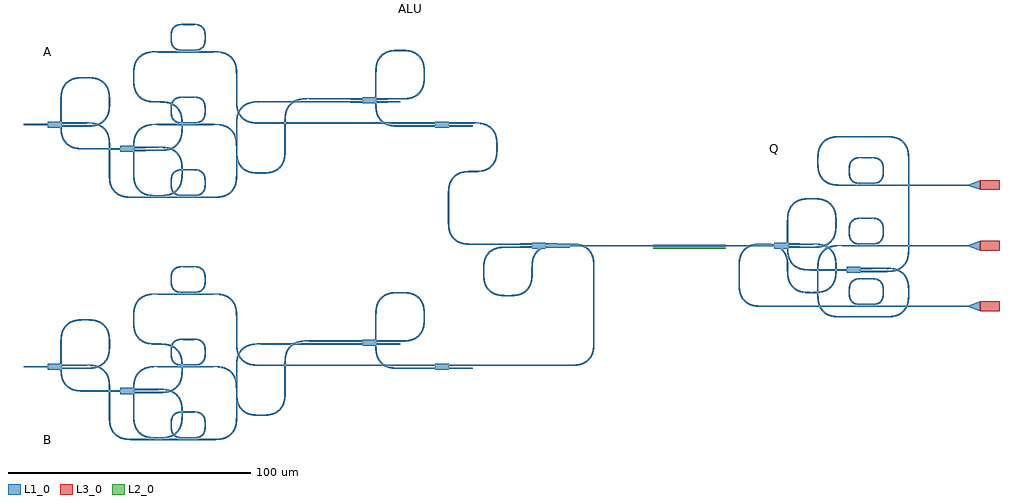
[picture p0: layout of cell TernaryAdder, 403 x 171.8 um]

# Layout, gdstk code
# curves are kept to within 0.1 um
from math import pi, radians
import gdstk
lib = gdstk.Library(unit=1e-6, precision=1e-09)
def R(c, l, rs):  # rectangles x0, y0, x1, y1
    for r in rs: c.add(gdstk.rectangle(r[:2], r[2:], *l))
def P(c, l, *ps):  # polygons
    for p in ps: c.add(gdstk.Polygon(p, *l))
L1_0 = (1, 0)
L2_0 = (2, 0)
L3_0 = (3, 0)

mmi1x2_gdsfactorypcompon = lib.new_cell('mmi1x2_gdsfactorypcomponentspmmispmmi1x2_WNone_WT1_LT10_1f097353')
P(mmi1x2_gdsfactorypcompon, L1_0, [(0,-1.25),(0,-0.5),(-10,-0.25),(-10,0.25),(0,0.5),(0,1.25),(5.5,1.25),(5.5,1.125),(15.5,0.875),(15.5,0.375),(5.5,0.125),(5.5,-0.125),(15.5,-0.375),(15.5,-0.875),(5.5,-1.125),(5.5,-1.25)])

bend_euler_gdsfactorypco = lib.new_cell('bend_euler_gdsfactorypcomponentspbendspbend_euler_R10_A_335c8724')
P(bend_euler_gdsfactorypco, L1_0, [(0,-0.25),(0,0.25),(2.881,0.353),(3.952,0.52),(4.99,0.806),(6.431,1.505),(7.575,2.425),(8.495,3.569),(9.194,5.01),(9.48,6.048),(9.647,7.119),(9.75,10),(10.25,10),(10.158,7.205),(9.797,5.254),(9.457,4.312),(9.066,3.545),(8.5,2.715),(7.928,2.072),(7.285,1.5),(6.455,0.934),(5.688,0.543),(4.746,0.203),(2.795,-0.158)])

straight_gdsfactorypcomp = lib.new_cell('straight_gdsfactorypcomponentspwaveguidespstraight_L9p3_5c04381e')
R(straight_gdsfactorypcomp, L1_0, [(0,-0.25,9.375,0.25)])

c_straight_gdsfactorypcomp = lib.new_cell('straight_gdsfactorypcomponentspwaveguidespstraight_L4p5_be343a92')
R(c_straight_gdsfactorypcomp, L1_0, [(0,-0.25,4.5,0.25)])

split_a_982a3913 = lib.new_cell('split_A_982a3913')
split_a_982a3913.add(gdstk.Reference(mmi1x2_gdsfactorypcompon, (0,0)))
split_a_982a3913.add(gdstk.Reference(mmi1x2_gdsfactorypcompon, (30,-10)))
split_a_982a3913.add(gdstk.Reference(bend_euler_gdsfactorypco, (25.5,9.375), rotation=3*pi/2, x_reflection=True))
split_a_982a3913.add(gdstk.Reference(bend_euler_gdsfactorypco, (15.5,19.375), x_reflection=True))
split_a_982a3913.add(gdstk.Reference(bend_euler_gdsfactorypco, (5.5,9.375), rotation=pi/2, x_reflection=True))
split_a_982a3913.add(gdstk.Reference(bend_euler_gdsfactorypco, (15.5,-10), rotation=pi, x_reflection=True))
split_a_982a3913.add(gdstk.Reference(straight_gdsfactorypcomp, (5.5,9.375), rotation=3*pi/2))
split_a_982a3913.add(gdstk.Reference(c_straight_gdsfactorypcomp, (15.5,-10)))

coupler_ring_gdsfactoryp = lib.new_cell('coupler_ring_gdsfactorypcomponentspcouplerspcoupler_rin_e57d2f45')
R(coupler_ring_gdsfactoryp, L1_0, [(-12,-0.25,8,0.25)])
P(coupler_ring_gdsfactoryp, L1_0, [(-4.278,0.45),(-5.553,0.512),(-6.549,0.725),(-7.411,1.132),(-8.167,1.767),(-8.733,2.575),(-9.057,3.433),(-9.216,4.433),(-9.25,5.7),(-8.75,5.7),(-8.706,4.34),(-8.538,3.432),(-8.146,2.558),(-7.596,1.902),(-7.02,1.48),(-6.268,1.162),(-5.36,0.994),(-4.276,0.95),(1.093,0.973),(2.142,1.127),(2.894,1.411),(3.596,1.902),(4.22,2.68),(4.5,3.308),(4.654,3.944),(4.75,5.7),(5.25,5.7),(5.169,4.004),(5.018,3.292),(4.806,2.723),(4.476,2.152),(4.053,1.647),(3.125,0.967),(2.267,0.643),(1.124,0.474)])

c_straight_gdsfactorypcomp_ = lib.new_cell('straight_gdsfactorypcomponentspwaveguidespstraight_L4_N_a6eac62c')
R(c_straight_gdsfactorypcomp_, L1_0, [(0,-0.25,4,0.25)])

c_bend_euler_gdsfactorypco = lib.new_cell('bend_euler_gdsfactorypcomponentspbendspbend_euler_R5_A9_90a35c7e')
P(c_bend_euler_gdsfactorypco, L1_0, [(0,-0.25),(0,0.25),(1.36,0.294),(2.268,0.462),(3.02,0.78),(3.699,1.301),(4.22,1.98),(4.538,2.732),(4.706,3.64),(4.75,5),(5.25,5),(5.203,3.59),(5.018,2.592),(4.653,1.73),(4.053,0.947),(3.27,0.347),(2.408,-0.018),(1.41,-0.203)])

c_straight_gdsfactorypcomp__ = lib.new_cell('straight_gdsfactorypcomponentspwaveguidespstraight_L0p6_058e2168')
R(c_straight_gdsfactorypcomp__, L1_0, [(0,-0.25,0.6,0.25)])

ring_single_gdsfactorypc = lib.new_cell('ring_single_gdsfactorypcomponentspringspring_single_G0p_fd70e67b')
ring_single_gdsfactorypc.add(gdstk.Reference(coupler_ring_gdsfactoryp, (0,0)))
ring_single_gdsfactorypc.add(gdstk.Reference(c_straight_gdsfactorypcomp_, (0,11.3), rotation=pi))
ring_single_gdsfactorypc.add(gdstk.Reference(c_bend_euler_gdsfactorypco, (-4,11.3), rotation=pi))
ring_single_gdsfactorypc.add(gdstk.Reference(c_bend_euler_gdsfactorypco, (5,6.3), rotation=pi/2))
ring_single_gdsfactorypc.add(gdstk.Reference(c_straight_gdsfactorypcomp__, (-9,5.7), rotation=pi/2))
ring_single_gdsfactorypc.add(gdstk.Reference(c_straight_gdsfactorypcomp__, (5,6.3), rotation=3*pi/2))

sel_a_red_982a3913 = lib.new_cell('sel_A_Red_982a3913')
sel_a_red_982a3913.add(gdstk.Reference(ring_single_gdsfactorypc, (0,0)))
sel_a_red_982a3913.add(gdstk.Label('SEL_1550', (0,7), layer=100, texttype=0))

sel_a_green_982a3913 = lib.new_cell('sel_A_Green_982a3913')
sel_a_green_982a3913.add(gdstk.Reference(ring_single_gdsfactorypc, (0,0)))
sel_a_green_982a3913.add(gdstk.Label('SEL_1300', (0,7), layer=100, texttype=0))

sel_a_blue_982a3913 = lib.new_cell('sel_A_Blue_982a3913')
sel_a_blue_982a3913.add(gdstk.Reference(ring_single_gdsfactorypc, (0,0)))
sel_a_blue_982a3913.add(gdstk.Label('SEL_1000', (0,7), layer=100, texttype=0))

mmi2x2_gdsfactorypcompon = lib.new_cell('mmi2x2_gdsfactorypcomponentspmmispmmi2x2_WNone_WT1_LT10_d84946bc')
P(mmi2x2_gdsfactorypcompon, L1_0, [(0,-1.25),(0,-1.125),(-10,-0.875),(-10,-0.375),(0,-0.125),(0,0.125),(-10,0.375),(-10,0.875),(0,1.125),(0,1.25),(5.5,1.25),(5.5,1.125),(15.5,0.875),(15.5,0.375),(5.5,0.125),(5.5,-0.125),(15.5,-0.375),(15.5,-0.875),(5.5,-1.125),(5.5,-1.25)])

c_straight_gdsfactorypcomp___ = lib.new_cell('straight_gdsfactorypcomponentspwaveguidespstraight_L11p_b5dd33e6')
R(c_straight_gdsfactorypcomp___, L1_0, [(0,-0.25,11.25,0.25)])

comb_a_982a3913 = lib.new_cell('comb_A_982a3913')
comb_a_982a3913.add(gdstk.Reference(mmi2x2_gdsfactorypcompon, (0,10)))
comb_a_982a3913.add(gdstk.Reference(mmi2x2_gdsfactorypcompon, (30,0)))
comb_a_982a3913.add(gdstk.Reference(bend_euler_gdsfactorypco, (25.5,20.625), rotation=3*pi/2, x_reflection=True))
comb_a_982a3913.add(gdstk.Reference(bend_euler_gdsfactorypco, (15.5,30.625), x_reflection=True))
comb_a_982a3913.add(gdstk.Reference(bend_euler_gdsfactorypco, (5.5,20.625), rotation=pi/2, x_reflection=True))
comb_a_982a3913.add(gdstk.Reference(bend_euler_gdsfactorypco, (15.5,-0.625), rotation=pi, x_reflection=True))
comb_a_982a3913.add(gdstk.Reference(c_straight_gdsfactorypcomp___, (5.5,20.625), rotation=3*pi/2))
comb_a_982a3913.add(gdstk.Reference(c_straight_gdsfactorypcomp, (15.5,-0.625)))

c_straight_gdsfactorypcomp____ = lib.new_cell('straight_gdsfactorypcomponentspwaveguidespstraight_L10p_2f2216ae')
R(c_straight_gdsfactorypcomp____, L1_0, [(0,-0.25,10.625,0.25)])

c_straight_gdsfactorypcomp_____ = lib.new_cell('straight_gdsfactorypcomponentspwaveguidespstraight_L12p_0dcc9123')
R(c_straight_gdsfactorypcomp_____, L1_0, [(0,-0.25,12.5,0.25)])

c_straight_gdsfactorypcomp______ = lib.new_cell('straight_gdsfactorypcomponentspwaveguidespstraight_L2p5_b59e3197')
R(c_straight_gdsfactorypcomp______, L1_0, [(0,-0.25,2.5,0.25)])

c_straight_gdsfactorypcomp_______ = lib.new_cell('straight_gdsfactorypcomponentspwaveguidespstraight_L0p6_2a917248')
R(c_straight_gdsfactorypcomp_______, L1_0, [(0,-0.25,0.625,0.25)])

c_straight_gdsfactorypcomp________ = lib.new_cell('straight_gdsfactorypcomponentspwaveguidespstraight_L19p_8f351695')
R(c_straight_gdsfactorypcomp________, L1_0, [(0,-0.25,19.375,0.25)])

c_straight_gdsfactorypcomp_________ = lib.new_cell('straight_gdsfactorypcomponentspwaveguidespstraight_L32__d09634ea')
R(c_straight_gdsfactorypcomp_________, L1_0, [(0,-0.25,32,0.25)])

c_straight_gdsfactorypcomp__________ = lib.new_cell('straight_gdsfactorypcomponentspwaveguidespstraight_L12__08aed825')
R(c_straight_gdsfactorypcomp__________, L1_0, [(0,-0.25,12,0.25)])

c_straight_gdsfactorypcomp___________ = lib.new_cell('straight_gdsfactorypcomponentspwaveguidespstraight_L62__7b0e011d')
R(c_straight_gdsfactorypcomp___________, L1_0, [(0,-0.25,62,0.25)])

input_a_982a3913 = lib.new_cell('input_A_982a3913')
input_a_982a3913.add(gdstk.Reference(split_a_982a3913, (0,50)))
input_a_982a3913.add(gdstk.Reference(sel_a_red_982a3913, (60,20)))
input_a_982a3913.add(gdstk.Reference(sel_a_green_982a3913, (60,50)))
input_a_982a3913.add(gdstk.Reference(sel_a_blue_982a3913, (60,80)))
input_a_982a3913.add(gdstk.Reference(comb_a_982a3913, (130,50)))
input_a_982a3913.add(gdstk.Reference(bend_euler_gdsfactorypco, (25.5,40.625), rotation=pi/2))
input_a_982a3913.add(gdstk.Reference(bend_euler_gdsfactorypco, (35.5,20), rotation=pi, x_reflection=True))
input_a_982a3913.add(gdstk.Reference(c_straight_gdsfactorypcomp____, (25.5,40.625), rotation=3*pi/2))
input_a_982a3913.add(gdstk.Reference(c_straight_gdsfactorypcomp_____, (35.5,20)))
input_a_982a3913.add(gdstk.Reference(bend_euler_gdsfactorypco, (55.5,30.625), rotation=pi/2))
input_a_982a3913.add(gdstk.Reference(bend_euler_gdsfactorypco, (45.5,20.625)))
input_a_982a3913.add(gdstk.Reference(bend_euler_gdsfactorypco, (35.5,30.625), rotation=3*pi/2))
input_a_982a3913.add(gdstk.Reference(bend_euler_gdsfactorypco, (45.5,50), rotation=pi))
input_a_982a3913.add(gdstk.Reference(straight_gdsfactorypcomp, (35.5,30.625), rotation=pi/2))
input_a_982a3913.add(gdstk.Reference(c_straight_gdsfactorypcomp______, (45.5,50)))
input_a_982a3913.add(gdstk.Reference(bend_euler_gdsfactorypco, (55.5,49.375), rotation=3*pi/2, x_reflection=True))
input_a_982a3913.add(gdstk.Reference(bend_euler_gdsfactorypco, (45.5,59.375), x_reflection=True))
input_a_982a3913.add(gdstk.Reference(bend_euler_gdsfactorypco, (35.5,69.375), rotation=3*pi/2))
input_a_982a3913.add(gdstk.Reference(bend_euler_gdsfactorypco, (45.5,80), rotation=pi))
input_a_982a3913.add(gdstk.Reference(c_straight_gdsfactorypcomp_______, (35.5,69.375), rotation=pi/2))
input_a_982a3913.add(gdstk.Reference(c_straight_gdsfactorypcomp______, (45.5,80)))
input_a_982a3913.add(gdstk.Reference(bend_euler_gdsfactorypco, (78,30), rotation=3*pi/2, x_reflection=True))
input_a_982a3913.add(gdstk.Reference(bend_euler_gdsfactorypco, (88,59.375), rotation=pi))
input_a_982a3913.add(gdstk.Reference(c_straight_gdsfactorypcomp________, (78,30), rotation=pi/2))
input_a_982a3913.add(gdstk.Reference(c_straight_gdsfactorypcomp_________, (88,59.375)))
input_a_982a3913.add(gdstk.Reference(bend_euler_gdsfactorypco, (78,40), rotation=pi/2))
input_a_982a3913.add(gdstk.Reference(bend_euler_gdsfactorypco, (88,30), rotation=pi, x_reflection=True))
input_a_982a3913.add(gdstk.Reference(bend_euler_gdsfactorypco, (98,40), rotation=3*pi/2, x_reflection=True))
input_a_982a3913.add(gdstk.Reference(bend_euler_gdsfactorypco, (108,60.625), rotation=pi))
input_a_982a3913.add(gdstk.Reference(c_straight_gdsfactorypcomp____, (98,40), rotation=pi/2))
input_a_982a3913.add(gdstk.Reference(c_straight_gdsfactorypcomp__________, (108,60.625)))
input_a_982a3913.add(gdstk.Reference(bend_euler_gdsfactorypco, (78,70), rotation=pi/2))
input_a_982a3913.add(gdstk.Reference(bend_euler_gdsfactorypco, (88,50.625), rotation=pi, x_reflection=True))
input_a_982a3913.add(gdstk.Reference(straight_gdsfactorypcomp, (78,70), rotation=3*pi/2))
input_a_982a3913.add(gdstk.Reference(c_straight_gdsfactorypcomp___________, (88,50.625)))

split_b_982a3913 = lib.new_cell('split_B_982a3913')
split_b_982a3913.add(gdstk.Reference(mmi1x2_gdsfactorypcompon, (0,0)))
split_b_982a3913.add(gdstk.Reference(mmi1x2_gdsfactorypcompon, (30,-10)))
split_b_982a3913.add(gdstk.Reference(bend_euler_gdsfactorypco, (25.5,9.375), rotation=3*pi/2, x_reflection=True))
split_b_982a3913.add(gdstk.Reference(bend_euler_gdsfactorypco, (15.5,19.375), x_reflection=True))
split_b_982a3913.add(gdstk.Reference(bend_euler_gdsfactorypco, (5.5,9.375), rotation=pi/2, x_reflection=True))
split_b_982a3913.add(gdstk.Reference(bend_euler_gdsfactorypco, (15.5,-10), rotation=pi, x_reflection=True))
split_b_982a3913.add(gdstk.Reference(straight_gdsfactorypcomp, (5.5,9.375), rotation=3*pi/2))
split_b_982a3913.add(gdstk.Reference(c_straight_gdsfactorypcomp, (15.5,-10)))

sel_b_red_982a3913 = lib.new_cell('sel_B_Red_982a3913')
sel_b_red_982a3913.add(gdstk.Reference(ring_single_gdsfactorypc, (0,0)))
sel_b_red_982a3913.add(gdstk.Label('SEL_1550', (0,7), layer=100, texttype=0))

sel_b_green_982a3913 = lib.new_cell('sel_B_Green_982a3913')
sel_b_green_982a3913.add(gdstk.Reference(ring_single_gdsfactorypc, (0,0)))
sel_b_green_982a3913.add(gdstk.Label('SEL_1300', (0,7), layer=100, texttype=0))

sel_b_blue_982a3913 = lib.new_cell('sel_B_Blue_982a3913')
sel_b_blue_982a3913.add(gdstk.Reference(ring_single_gdsfactorypc, (0,0)))
sel_b_blue_982a3913.add(gdstk.Label('SEL_1000', (0,7), layer=100, texttype=0))

comb_b_982a3913 = lib.new_cell('comb_B_982a3913')
comb_b_982a3913.add(gdstk.Reference(mmi2x2_gdsfactorypcompon, (0,10)))
comb_b_982a3913.add(gdstk.Reference(mmi2x2_gdsfactorypcompon, (30,0)))
comb_b_982a3913.add(gdstk.Reference(bend_euler_gdsfactorypco, (25.5,20.625), rotation=3*pi/2, x_reflection=True))
comb_b_982a3913.add(gdstk.Reference(bend_euler_gdsfactorypco, (15.5,30.625), x_reflection=True))
comb_b_982a3913.add(gdstk.Reference(bend_euler_gdsfactorypco, (5.5,20.625), rotation=pi/2, x_reflection=True))
comb_b_982a3913.add(gdstk.Reference(bend_euler_gdsfactorypco, (15.5,-0.625), rotation=pi, x_reflection=True))
comb_b_982a3913.add(gdstk.Reference(c_straight_gdsfactorypcomp___, (5.5,20.625), rotation=3*pi/2))
comb_b_982a3913.add(gdstk.Reference(c_straight_gdsfactorypcomp, (15.5,-0.625)))

input_b_982a3913 = lib.new_cell('input_B_982a3913')
input_b_982a3913.add(gdstk.Reference(split_b_982a3913, (0,-50)))
input_b_982a3913.add(gdstk.Reference(sel_b_red_982a3913, (60,-80)))
input_b_982a3913.add(gdstk.Reference(sel_b_green_982a3913, (60,-50)))
input_b_982a3913.add(gdstk.Reference(sel_b_blue_982a3913, (60,-20)))
input_b_982a3913.add(gdstk.Reference(comb_b_982a3913, (130,-50)))
input_b_982a3913.add(gdstk.Reference(bend_euler_gdsfactorypco, (25.5,-59.375), rotation=pi/2))
input_b_982a3913.add(gdstk.Reference(bend_euler_gdsfactorypco, (35.5,-80), rotation=pi, x_reflection=True))
input_b_982a3913.add(gdstk.Reference(c_straight_gdsfactorypcomp____, (25.5,-59.375), rotation=3*pi/2))
input_b_982a3913.add(gdstk.Reference(c_straight_gdsfactorypcomp_____, (35.5,-80)))
input_b_982a3913.add(gdstk.Reference(bend_euler_gdsfactorypco, (55.5,-69.375), rotation=pi/2))
input_b_982a3913.add(gdstk.Reference(bend_euler_gdsfactorypco, (45.5,-79.375)))
input_b_982a3913.add(gdstk.Reference(bend_euler_gdsfactorypco, (35.5,-69.375), rotation=3*pi/2))
input_b_982a3913.add(gdstk.Reference(bend_euler_gdsfactorypco, (45.5,-50), rotation=pi))
input_b_982a3913.add(gdstk.Reference(straight_gdsfactorypcomp, (35.5,-69.375), rotation=pi/2))
input_b_982a3913.add(gdstk.Reference(c_straight_gdsfactorypcomp______, (45.5,-50)))
input_b_982a3913.add(gdstk.Reference(bend_euler_gdsfactorypco, (55.5,-50.625), rotation=3*pi/2, x_reflection=True))
input_b_982a3913.add(gdstk.Reference(bend_euler_gdsfactorypco, (45.5,-40.625), x_reflection=True))
input_b_982a3913.add(gdstk.Reference(bend_euler_gdsfactorypco, (35.5,-30.625), rotation=3*pi/2))
input_b_982a3913.add(gdstk.Reference(bend_euler_gdsfactorypco, (45.5,-20), rotation=pi))
input_b_982a3913.add(gdstk.Reference(c_straight_gdsfactorypcomp_______, (35.5,-30.625), rotation=pi/2))
input_b_982a3913.add(gdstk.Reference(c_straight_gdsfactorypcomp______, (45.5,-20)))
input_b_982a3913.add(gdstk.Reference(bend_euler_gdsfactorypco, (78,-70), rotation=3*pi/2, x_reflection=True))
input_b_982a3913.add(gdstk.Reference(bend_euler_gdsfactorypco, (88,-40.625), rotation=pi))
input_b_982a3913.add(gdstk.Reference(c_straight_gdsfactorypcomp________, (78,-70), rotation=pi/2))
input_b_982a3913.add(gdstk.Reference(c_straight_gdsfactorypcomp_________, (88,-40.625)))
input_b_982a3913.add(gdstk.Reference(bend_euler_gdsfactorypco, (78,-60), rotation=pi/2))
input_b_982a3913.add(gdstk.Reference(bend_euler_gdsfactorypco, (88,-70), rotation=pi, x_reflection=True))
input_b_982a3913.add(gdstk.Reference(bend_euler_gdsfactorypco, (98,-60), rotation=3*pi/2, x_reflection=True))
input_b_982a3913.add(gdstk.Reference(bend_euler_gdsfactorypco, (108,-39.375), rotation=pi))
input_b_982a3913.add(gdstk.Reference(c_straight_gdsfactorypcomp____, (98,-60), rotation=pi/2))
input_b_982a3913.add(gdstk.Reference(c_straight_gdsfactorypcomp__________, (108,-39.375)))
input_b_982a3913.add(gdstk.Reference(bend_euler_gdsfactorypco, (78,-30), rotation=pi/2))
input_b_982a3913.add(gdstk.Reference(bend_euler_gdsfactorypco, (88,-49.375), rotation=pi, x_reflection=True))
input_b_982a3913.add(gdstk.Reference(straight_gdsfactorypcomp, (78,-30), rotation=3*pi/2))
input_b_982a3913.add(gdstk.Reference(c_straight_gdsfactorypcomp___________, (88,-49.375)))

c_straight_gdsfactorypcomp____________ = lib.new_cell('straight_gdsfactorypcomponentspwaveguidespstraight_L30__ad10009a')
R(c_straight_gdsfactorypcomp____________, L1_0, [(0,-0.4,30,0.4)])

alu_mixer_982a3913 = lib.new_cell('alu_mixer_982a3913')
R(alu_mixer_982a3913, L2_0, [(0,-1.3,30,-0.8)])
alu_mixer_982a3913.add(gdstk.Reference(c_straight_gdsfactorypcomp____________, (0,0)))
alu_mixer_982a3913.add(gdstk.Label('MIX', (15,-1.8), layer=100, texttype=0))

taper_gdsfactorypcompone = lib.new_cell('taper_gdsfactorypcomponentsptapersptaper_L10_W0p8_W0p5__da63ba57')
P(taper_gdsfactorypcompone, L1_0, [(0,-0.4),(0,0.4),(10,0.25),(10,-0.25)])

output_split_982a3913 = lib.new_cell('output_split_982a3913')
output_split_982a3913.add(gdstk.Reference(mmi1x2_gdsfactorypcompon, (0,0)))
output_split_982a3913.add(gdstk.Reference(mmi1x2_gdsfactorypcompon, (30,-10)))
output_split_982a3913.add(gdstk.Reference(bend_euler_gdsfactorypco, (25.5,9.375), rotation=3*pi/2, x_reflection=True))
output_split_982a3913.add(gdstk.Reference(bend_euler_gdsfactorypco, (15.5,19.375), x_reflection=True))
output_split_982a3913.add(gdstk.Reference(bend_euler_gdsfactorypco, (5.5,9.375), rotation=pi/2, x_reflection=True))
output_split_982a3913.add(gdstk.Reference(bend_euler_gdsfactorypco, (15.5,-10), rotation=pi, x_reflection=True))
output_split_982a3913.add(gdstk.Reference(straight_gdsfactorypcomp, (5.5,9.375), rotation=3*pi/2))
output_split_982a3913.add(gdstk.Reference(c_straight_gdsfactorypcomp, (15.5,-10)))

filter_red_982a3913 = lib.new_cell('filter_Red_982a3913')
filter_red_982a3913.add(gdstk.Reference(ring_single_gdsfactorypc, (0,0)))
filter_red_982a3913.add(gdstk.Label('SEL_1550', (0,7), layer=100, texttype=0))

c_taper_gdsfactorypcompone = lib.new_cell('taper_gdsfactorypcomponentsptapersptaper_L5_W0p5_W4_LNo_3267d75c')
P(c_taper_gdsfactorypcompone, L1_0, [(5,-2),(0,-0.25),(0,0.25),(5,2)])

rectangle_gdsfactorypcom = lib.new_cell('rectangle_gdsfactorypcomponentspshapesprectangle_S8_4_L_c544619e')
R(rectangle_gdsfactorypcom, L3_0, [(0,0,8,4)])

detect_red_982a3913 = lib.new_cell('detect_Red_982a3913')
detect_red_982a3913.add(gdstk.Reference(c_taper_gdsfactorypcompone, (0,0)))
detect_red_982a3913.add(gdstk.Reference(rectangle_gdsfactorypcom, (5,-2)))
detect_red_982a3913.add(gdstk.Label('PD', (10,-4), layer=100, texttype=0))

filter_green_982a3913 = lib.new_cell('filter_Green_982a3913')
filter_green_982a3913.add(gdstk.Reference(ring_single_gdsfactorypc, (0,0)))
filter_green_982a3913.add(gdstk.Label('SEL_1300', (0,7), layer=100, texttype=0))

detect_green_982a3913 = lib.new_cell('detect_Green_982a3913')
detect_green_982a3913.add(gdstk.Reference(c_taper_gdsfactorypcompone, (0,0)))
detect_green_982a3913.add(gdstk.Reference(rectangle_gdsfactorypcom, (5,-2)))
detect_green_982a3913.add(gdstk.Label('PD', (10,-4), layer=100, texttype=0))

filter_blue_982a3913 = lib.new_cell('filter_Blue_982a3913')
filter_blue_982a3913.add(gdstk.Reference(ring_single_gdsfactorypc, (0,0)))
filter_blue_982a3913.add(gdstk.Label('SEL_1000', (0,7), layer=100, texttype=0))

detect_blue_982a3913 = lib.new_cell('detect_Blue_982a3913')
detect_blue_982a3913.add(gdstk.Reference(c_taper_gdsfactorypcompone, (0,0)))
detect_blue_982a3913.add(gdstk.Reference(rectangle_gdsfactorypcom, (5,-2)))
detect_blue_982a3913.add(gdstk.Label('PD', (10,-4), layer=100, texttype=0))

c_straight_gdsfactorypcomp_____________ = lib.new_cell('straight_gdsfactorypcomponentspwaveguidespstraight_L5p6_c0f6b6dc')
R(c_straight_gdsfactorypcomp_____________, L1_0, [(0,-0.25,5.625,0.25)])

c_straight_gdsfactorypcomp______________ = lib.new_cell('straight_gdsfactorypcomponentspwaveguidespstraight_L32p_d6bfa163')
R(c_straight_gdsfactorypcomp______________, L1_0, [(0,-0.25,32.5,0.25)])

c_straight_gdsfactorypcomp_______________ = lib.new_cell('straight_gdsfactorypcomponentspwaveguidespstraight_L17p_6e0994a4')
R(c_straight_gdsfactorypcomp_______________, L1_0, [(0,-0.25,17.5,0.25)])

c_straight_gdsfactorypcomp________________ = lib.new_cell('straight_gdsfactorypcomponentspwaveguidespstraight_L35p_595ae95b')
R(c_straight_gdsfactorypcomp________________, L1_0, [(0,-0.25,35.625,0.25)])

output_982a3913 = lib.new_cell('output_982a3913')
output_982a3913.add(gdstk.Reference(output_split_982a3913, (0,0)))
output_982a3913.add(gdstk.Reference(filter_red_982a3913, (40,-25)))
output_982a3913.add(gdstk.Reference(detect_red_982a3913, (80,-25)))
output_982a3913.add(gdstk.Reference(filter_green_982a3913, (40,0)))
output_982a3913.add(gdstk.Reference(detect_green_982a3913, (80,0)))
output_982a3913.add(gdstk.Reference(filter_blue_982a3913, (40,25)))
output_982a3913.add(gdstk.Reference(detect_blue_982a3913, (80,25)))
output_982a3913.add(gdstk.Reference(bend_euler_gdsfactorypco, (25.5,-9.375), rotation=pi/2))
output_982a3913.add(gdstk.Reference(bend_euler_gdsfactorypco, (15.5,-19.375)))
output_982a3913.add(gdstk.Reference(bend_euler_gdsfactorypco, (5.5,-9.375), rotation=3*pi/2))
output_982a3913.add(gdstk.Reference(bend_euler_gdsfactorypco, (-4.5,0.625), x_reflection=True))
output_982a3913.add(gdstk.Reference(bend_euler_gdsfactorypco, (-14.5,-9.375), rotation=pi/2, x_reflection=True))
output_982a3913.add(gdstk.Reference(bend_euler_gdsfactorypco, (-4.5,-25), rotation=pi, x_reflection=True))
output_982a3913.add(gdstk.Reference(c_straight_gdsfactorypcomp_____________, (-14.5,-9.375), rotation=3*pi/2))
output_982a3913.add(gdstk.Reference(c_straight_gdsfactorypcomp______________, (-4.5,-25)))
output_982a3913.add(gdstk.Reference(c_straight_gdsfactorypcomp_________, (48,-25)))
output_982a3913.add(gdstk.Reference(bend_euler_gdsfactorypco, (55.5,-19.375), rotation=pi/2))
output_982a3913.add(gdstk.Reference(bend_euler_gdsfactorypco, (45.5,-29.375)))
output_982a3913.add(gdstk.Reference(bend_euler_gdsfactorypco, (18,-19.375), rotation=3*pi/2))
output_982a3913.add(gdstk.Reference(c_straight_gdsfactorypcomp_______________, (45.5,-29.375), rotation=pi))
output_982a3913.add(gdstk.Reference(bend_euler_gdsfactorypco, (28,0), rotation=pi))
output_982a3913.add(gdstk.Reference(straight_gdsfactorypcomp, (18,-19.375), rotation=pi/2))
output_982a3913.add(gdstk.Reference(c_straight_gdsfactorypcomp_________, (48,0)))
output_982a3913.add(gdstk.Reference(bend_euler_gdsfactorypco, (55.5,-0.625), rotation=3*pi/2, x_reflection=True))
output_982a3913.add(gdstk.Reference(bend_euler_gdsfactorypco, (45.5,45), x_reflection=True))
output_982a3913.add(gdstk.Reference(c_straight_gdsfactorypcomp________________, (55.5,-0.625), rotation=pi/2))
output_982a3913.add(gdstk.Reference(bend_euler_gdsfactorypco, (18,35), rotation=pi/2, x_reflection=True))
output_982a3913.add(gdstk.Reference(c_straight_gdsfactorypcomp_______________, (45.5,45), rotation=pi))
output_982a3913.add(gdstk.Reference(bend_euler_gdsfactorypco, (28,25), rotation=pi, x_reflection=True))
output_982a3913.add(gdstk.Reference(c_straight_gdsfactorypcomp_________, (48,25)))
output_982a3913.add(gdstk.Label('DET_R', (95,-25), layer=100, texttype=0))
output_982a3913.add(gdstk.Label('DET_G', (95,0), layer=100, texttype=0))
output_982a3913.add(gdstk.Label('DET_B', (95,25), layer=100, texttype=0))
output_982a3913.add(gdstk.Label('OUT', (50,35), layer=100, texttype=0))

c_straight_gdsfactorypcomp_________________ = lib.new_cell('straight_gdsfactorypcomponentspwaveguidespstraight_L10__f2286423')
R(c_straight_gdsfactorypcomp_________________, L1_0, [(0,-0.25,10,0.25)])

c_straight_gdsfactorypcomp__________________ = lib.new_cell('straight_gdsfactorypcomponentspwaveguidespstraight_L14p_2ca56a52')
R(c_straight_gdsfactorypcomp__________________, L1_0, [(0,-0.25,14.5,0.25)])

c_straight_gdsfactorypcomp___________________ = lib.new_cell('straight_gdsfactorypcomponentspwaveguidespstraight_L40__92237c63')
R(c_straight_gdsfactorypcomp___________________, L1_0, [(0,-0.25,40,0.25)])

c_straight_gdsfactorypcomp____________________ = lib.new_cell('straight_gdsfactorypcomponentspwaveguidespstraight_L30__a17b4e39')
R(c_straight_gdsfactorypcomp____________________, L1_0, [(0,-0.25,30,0.25)])

ternaryadder = lib.new_cell('TernaryAdder')
ternaryadder.add(gdstk.Reference(input_a_982a3913, (0,0)))
ternaryadder.add(gdstk.Reference(input_b_982a3913, (0,0)))
ternaryadder.add(gdstk.Reference(mmi2x2_gdsfactorypcompon, (200,0)))
ternaryadder.add(gdstk.Reference(alu_mixer_982a3913, (250,0)))
ternaryadder.add(gdstk.Reference(taper_gdsfactorypcompone, (250,0), rotation=pi))
ternaryadder.add(gdstk.Reference(output_982a3913, (300,0)))
ternaryadder.add(gdstk.Reference(taper_gdsfactorypcompone, (280,0)))
ternaryadder.add(gdstk.Reference(bend_euler_gdsfactorypco, (185.5,40.625), rotation=pi/2))
ternaryadder.add(gdstk.Reference(bend_euler_gdsfactorypco, (175.5,30.625)))
ternaryadder.add(gdstk.Reference(bend_euler_gdsfactorypco, (165.5,20.625), rotation=pi/2, x_reflection=True))
ternaryadder.add(gdstk.Reference(bend_euler_gdsfactorypco, (175.5,0.625), rotation=pi, x_reflection=True))
ternaryadder.add(gdstk.Reference(c_straight_gdsfactorypcomp_________________, (165.5,20.625), rotation=3*pi/2))
ternaryadder.add(gdstk.Reference(c_straight_gdsfactorypcomp__________________, (175.5,0.625)))
ternaryadder.add(gdstk.Reference(bend_euler_gdsfactorypco, (225.5,-39.375), rotation=3*pi/2, x_reflection=True))
ternaryadder.add(gdstk.Reference(c_straight_gdsfactorypcomp___________________, (175.5,-49.375)))
ternaryadder.add(gdstk.Reference(bend_euler_gdsfactorypco, (215.5,0.625), x_reflection=True))
ternaryadder.add(gdstk.Reference(c_straight_gdsfactorypcomp____________________, (225.5,-39.375), rotation=pi/2))
ternaryadder.add(gdstk.Reference(bend_euler_gdsfactorypco, (180,-10.625), rotation=pi/2, x_reflection=True))
ternaryadder.add(gdstk.Reference(bend_euler_gdsfactorypco, (190,-20.625), rotation=pi, x_reflection=True))
ternaryadder.add(gdstk.Reference(bend_euler_gdsfactorypco, (200,-10.625), rotation=3*pi/2, x_reflection=True))
ternaryadder.add(gdstk.Reference(bend_euler_gdsfactorypco, (210,0), rotation=pi))
ternaryadder.add(gdstk.Reference(c_straight_gdsfactorypcomp_______, (200,-10.625), rotation=pi/2))
ternaryadder.add(gdstk.Reference(c_straight_gdsfactorypcomp____________________, (210,0)))
ternaryadder.add(gdstk.Label('ALU', (150,100), layer=100, texttype=0))
ternaryadder.add(gdstk.Label('A', (0,80), layer=100, texttype=0))
ternaryadder.add(gdstk.Label('B', (0,-80), layer=100, texttype=0))
ternaryadder.add(gdstk.Label('Q', (300,40), layer=100, texttype=0))

lib.write_gds('TernaryAdder.gds')
